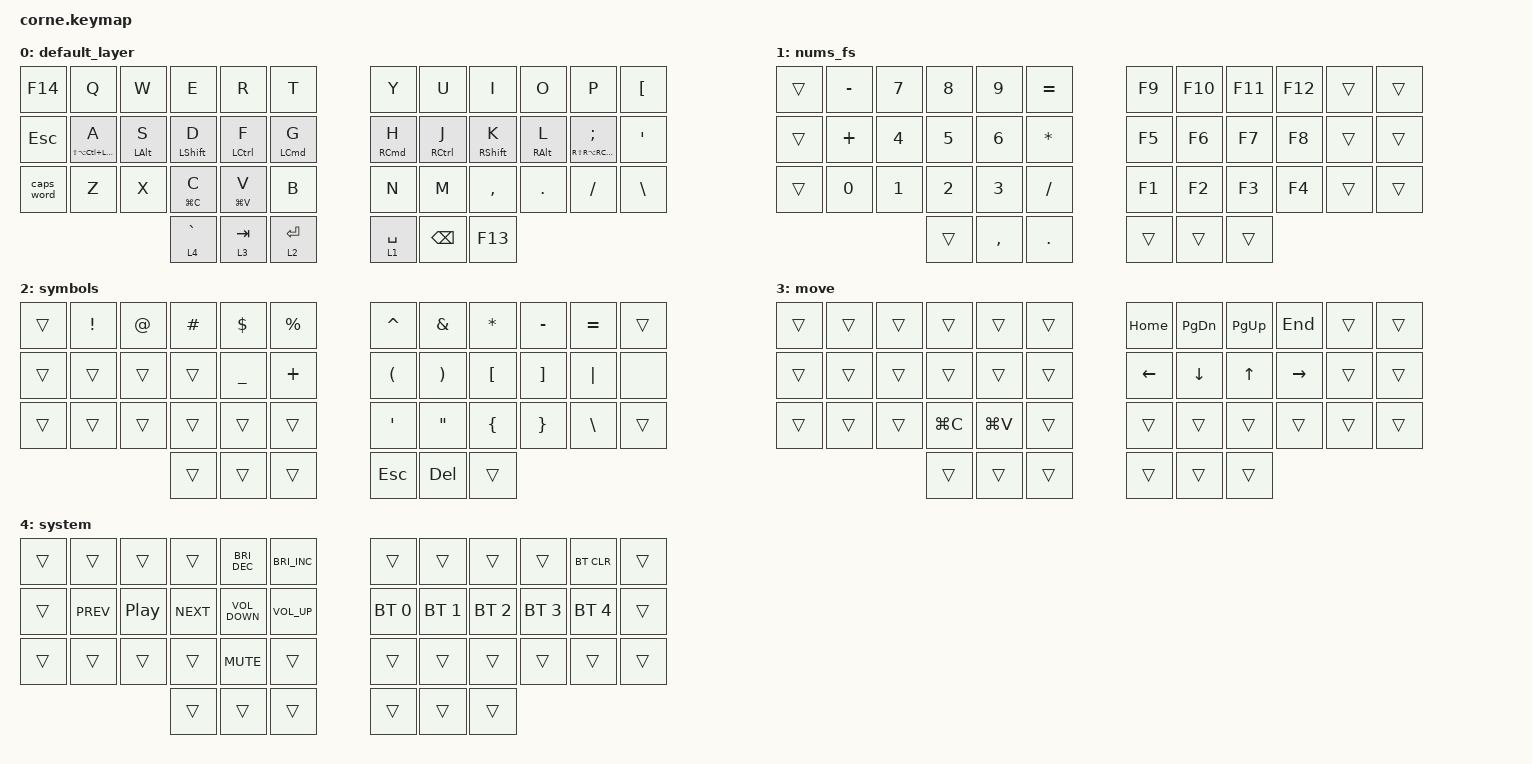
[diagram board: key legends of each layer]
/*
 * Copyright (c) 2020 The ZMK Contributors
 *
 * SPDX-License-Identifier: MIT
 */

#include <behaviors.dtsi>
#include <dt-bindings/zmk/bt.h>
#include <dt-bindings/zmk/keys.h>

&lt {
    tapping-term-ms = <200>;
    flavor = "balanced";
    hold-trigger-key-positions = <>;
};

/ {
    behaviors {
        lhr: lhr {
            compatible = "zmk,behavior-hold-tap";
            label = "LHR";
            bindings = <&kp>, <&kp>;

            #binding-cells = <2>;
            tapping-term-ms = <200>;
            flavor = "balanced";
            hold-trigger-key-positions = <6 18 30 31 19 7 8 20 32 33 21 9 10 22 34 39 40 41 11 23 35>;
        };

        rhr: rhr {
            compatible = "zmk,behavior-hold-tap";
            label = "RHR";
            bindings = <&kp>, <&kp>;

            #binding-cells = <2>;
            tapping-term-ms = <200>;
            flavor = "balanced";
            hold-trigger-key-positions = <29 17 5 4 16 28 27 15 2 3 14 26 1 13 25 36 37 38>;
        };

        hold_tap: hold_tap {
            compatible = "zmk,behavior-hold-tap";
            label = "HOLD_TAP";
            bindings = <&kp>, <&kp>;

            #binding-cells = <2>;
            tapping-term-ms = <300>;
            flavor = "tap-preferred";
        };
    };

    keymap {
        compatible = "zmk,keymap";

        default_layer {
            // -----------------------------------------------------------------------------------------
            // |  TAB |  Q  |  W  |  E  |  R  |  T  |   |  Y  |  U   |  I  |  O  |  P  | BKSP |
            // | CTRL |  A  |  S  |  D  |  F  |  G  |   |  H  |  J   |  K  |  L  |  ;  |  '   |
            // | SHFT |  Z  |  X  |  C  |  V  |  B  |   |  N  |  M   |  ,  |  .  |  /  | ESC  |
            //                    | GUI | LWR | SPC |   | ENT | RSE  | ALT |

            bindings = <
&kp F14     &kp Q                            &kp W        &kp E              &kp R              &kp T          &kp Y        &kp U          &kp I               &kp O             &kp P                               &kp LEFT_BRACKET
&kp ESCAPE  &lhr LS(LA(LC(LEFT_COMMAND))) A  &lhr LALT S  &lhr LSHIFT D      &lhr LCTRL F       &lhr LCMD G    &rhr RCMD H  &rhr RCTRL J   &rhr RIGHT_SHIFT K  &rhr RIGHT_ALT L  &rhr RS(RA(RC(LEFT_COMMAND))) SEMI  &kp SQT
&caps_word  &kp Z                            &kp X        &hold_tap LG(C) C  &hold_tap LG(V) V  &kp B          &kp N        &kp M          &kp COMMA           &kp DOT           &kp FSLH                            &kp BACKSLASH
                                                          &lt 4 GRAVE        &lt 3 TAB          &lt 2 ENTER    &lt 1 SPACE  &kp BACKSPACE  &kp F13
            >;
        };

        nums_fs {
            bindings = <
&trans  &kp MINUS     &kp N7        &kp N8        &kp N9        &kp EQUAL       &kp F9  &kp F10  &kp F11  &kp F12  &trans  &trans
&trans  &kp PLUS      &kp NUMBER_4  &kp N5        &kp NUMBER_6  &kp ASTERISK    &kp F5  &kp F6   &kp F7   &kp F8   &trans  &trans
&trans  &kp NUMBER_0  &kp NUMBER_1  &kp NUMBER_2  &kp NUMBER_3  &kp SLASH       &kp F1  &kp F2   &kp F3   &kp F4   &trans  &trans
                                    &trans        &kp COMMA     &kp PERIOD      &trans  &trans   &trans
            >;
        };

        symbols {
            bindings = <
&trans  &kp EXCLAMATION  &kp AT_SIGN  &kp HASH  &kp DOLLAR      &kp PERCENT    &kp CARET             &kp AMPERSAND          &kp ASTERISK      &kp MINUS          &kp EQUAL  &trans
&trans  &trans           &trans       &trans    &kp UNDERSCORE  &kp PLUS       &kp LEFT_PARENTHESIS  &kp RIGHT_PARENTHESIS  &kp LEFT_BRACKET  &kp RIGHT_BRACKET  &kp PIPE   &none
&trans  &trans           &trans       &trans    &trans          &trans         &kp SQT               &kp DOUBLE_QUOTES      &kp LEFT_BRACE    &kp RIGHT_BRACE    &kp BSLH   &trans
                                      &trans    &trans          &trans         &kp ESCAPE            &kp DELETE             &trans
            >;
        };

        move {
            bindings = <
&trans  &trans  &trans  &trans     &trans     &trans    &kp HOME  &kp PAGE_DOWN  &kp PAGE_UP   &kp END    &trans  &trans
&trans  &trans  &trans  &trans     &trans     &trans    &kp LEFT  &kp DOWN       &kp UP_ARROW  &kp RIGHT  &trans  &trans
&trans  &trans  &trans  &kp LG(C)  &kp LG(V)  &trans    &trans    &trans         &trans        &trans     &trans  &trans
                        &trans     &trans     &trans    &trans    &trans         &trans
            >;
        };

        system {
            bindings = <
&trans  &trans      &trans            &trans      &kp C_BRI_DEC      &kp C_BRI_INC      &trans        &trans        &trans        &trans        &bt BT_CLR    &trans
&trans  &kp C_PREV  &kp C_PLAY_PAUSE  &kp C_NEXT  &kp C_VOLUME_DOWN  &kp C_VOLUME_UP    &bt BT_SEL 0  &bt BT_SEL 1  &bt BT_SEL 2  &bt BT_SEL 3  &bt BT_SEL 4  &trans
&trans  &trans      &trans            &trans      &kp K_MUTE         &trans             &trans        &trans        &trans        &trans        &trans        &trans
                                      &trans      &trans             &trans             &trans        &trans        &trans
            >;
        };
    };
};
